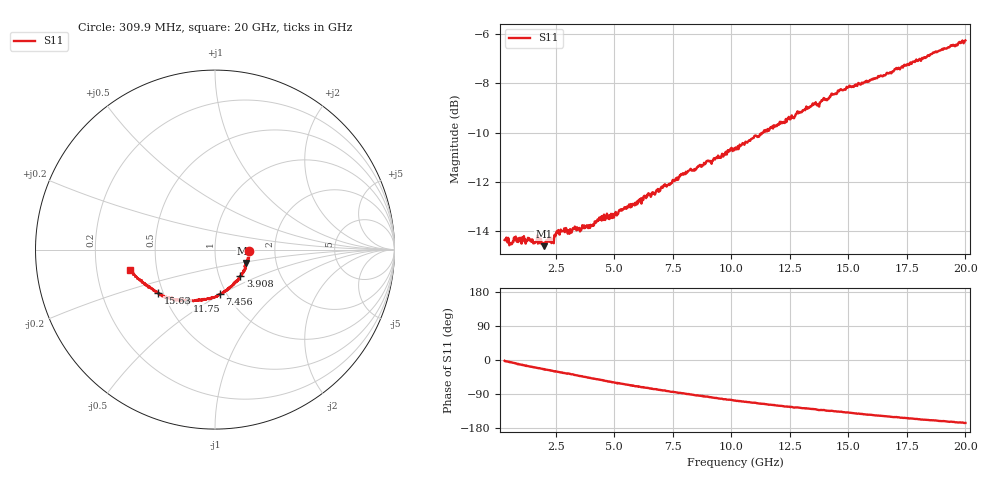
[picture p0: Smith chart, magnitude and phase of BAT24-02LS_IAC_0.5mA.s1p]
! Infineon Technologies  Discrete & RF Semiconductors
! BAT24-02LS
! IAC = 0.5 mA
! One-Port S-Parameters
# Hz  S  MA  R  50
!f  S11
!Hz  Mag  Ang
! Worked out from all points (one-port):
!   789 points, 309.9 MHz to 20 GHz, reference 50 ohm
!   lowest |S11| = -14.6 dB at 1.984 GHz (marker M1), VSWR 1.46, Z = 69.6 - j10.8 ohm
!   |S11| at or under -10 dB: start of sweep to 11.36 GHz
!   S11 on the Smith chart (normalised r, x): 309.9 MHz: 1.47, -0.02; 3.908 GHz: 1.26, -0.39; 7.456 GHz: 0.93, -0.49; 11.75 GHz: 0.63, -0.40; 15.63 GHz: 0.47, -0.27; 20 GHz: 0.35, -0.11
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3.0985e8  0.1916 -2.1
5.847125e8  0.188 -6.2
7.846125e8  0.1947 -8.5
1.784112e9  0.1932 -21.5
1.984012e9  0.1862 -23.7
2.333838e9  0.1916 -28.1
2.783612e9  0.1997 -34.1
3.083462e9  0.1973 -36.8
3.283362e9  0.2017 -39.3
3.90805e9  0.2052 -46.6
4.432788e9  0.2136 -52.8
5.232388e9  0.2197 -62.0
7.456275e9  0.25 -83.9
7.70615e9  0.2537 -86.3
8.980512e9  0.2776 -96.6
1.015492e10  0.2938 -107.2
1.175412e10  0.3248 -118.6
1.262869e10  0.3395 -124.9
1.352824e10  0.3619 -129.7
1.372814e10  0.3578 -132.1
1.392804e10  0.3705 -131.9
1.410295e10  0.3684 -133.8
1.462769e10  0.386 -136.2
1.507746e10  0.3931 -139.0
1.562719e10  0.3979 -143.0
1.755122e10  0.436 -153.3
1.870065e10  0.4603 -159.4
2e10  0.4865 -166.2
